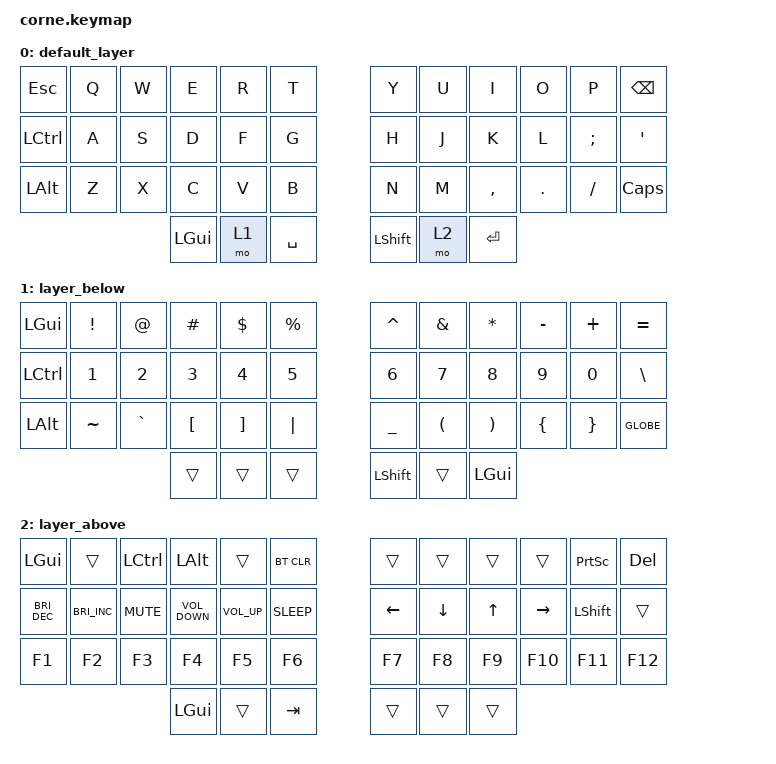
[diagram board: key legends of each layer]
/*
 * Copyright (c) 2020 The ZMK Contributors
 *
 * SPDX-License-Identifier: MIT
 */

#include <behaviors.dtsi>
#include <dt-bindings/zmk/bt.h>
#include <dt-bindings/zmk/keys.h>

/ {
    behaviors {
        tp: tap_preferred {
            compatible = "zmk,behavior-hold-tap";
            label = "TAP_PREFERRED";
            #binding-cells = <2>;
            tapping-term-ms = <150>;
            quick-tap-ms = <0>;
            flavor = "tap-preferred";
            bindings = <&kp>, <&kp>;
        };
    };

    keymap {
        compatible = "zmk,keymap";

        default_layer {
            // -----------------------------------------------------------------------------------------
            // | TAB  |  Q  |  W  |  E  |  R  |    T    |   |  Y  |  U   |  I  |  O  |  P  | ESC |
            // | CTRL |  A  |  S  |  D  |  F  |    G    |   |  H  |  J   |  K  |  L  |  ;  |  LWR/'   |
            // | SHFT |  Z  |  X  |  C  |  V  |    B    |   |  N  |  M   |  ,  |  .  |  /  | SHFT |
            //                    | GUI | LWR | ALT/ENT |   | HYPER/SPC | BKSP  | RSE |

            bindings = <
&kp ESCAPE    &kp Q  &kp W  &kp E     &kp R  &kp T        &kp Y           &kp U  &kp I      &kp O    &kp P     &kp BACKSPACE
&kp LCTRL     &kp A  &kp S  &kp D     &kp F  &kp G        &kp H           &kp J  &kp K      &kp L    &kp SEMI  &kp SINGLE_QUOTE
&kp LEFT_ALT  &kp Z  &kp X  &kp C     &kp V  &kp B        &kp N           &kp M  &kp COMMA  &kp DOT  &kp FSLH  &kp CAPS
                            &kp LGUI  &mo 1  &kp SPACE    &kp LEFT_SHIFT  &mo 2  &kp ENTER
            >;
        };

        layer_below {
            // -----------------------------------------------------------------------------------------
            // |      |  !  |  @  |  #  |  $  |    %     |   |  ^  |  &  |  *  |  (  |  )  |   \   |
            // |      |  1  |  2  |  3  |  4  |    5     |   |  -  |  =  |  `  |  [  |  ]  |  "|"  |
            // | SHFT |  6  |  7  |  8  |  9  |    0     |   |  _  |  +  |  ~  |  {  |  }  | RSHFT |
            //                     | GUI |     | ALT/ENT |   | HYPER/SPACE | BKSP |    |

            bindings = <
&kp LGUI          &kp EXCL   &kp AT     &kp HASH          &kp DLLR           &kp PRCNT    &kp CARET       &kp AMPS              &kp STAR               &kp MINUS  &kp PLUS  &kp EQUAL
&kp LEFT_CONTROL  &kp N1     &kp N2     &kp N3            &kp N4             &kp N5       &kp N6          &kp N7                &kp N8                 &kp N9     &kp N0    &kp BACKSLASH
&kp LEFT_ALT      &kp TILDE  &kp GRAVE  &kp LEFT_BRACKET  &kp RIGHT_BRACKET  &kp PIPE     &kp UNDERSCORE  &kp LEFT_PARENTHESIS  &kp RIGHT_PARENTHESIS  &kp LBRC   &kp RBRC  &kp GLOBE
                                        &trans            &trans             &trans       &kp LEFT_SHIFT  &trans                &kp LGUI
            >;
        };

        layer_above {
            // -----------------------------------------------------------------------------------------
            // |       |  F1  |  F2  |  F3  |  F4  |  F5 |            |  F6  |  F7  |  F8  |  F9  |  F10  |   |
            // |       | Prev | Next | Vol - | Vol + | Play/Pause |   |      | LFT | DWN |  UP | RGT |     |     |
            // | BTCLR | BT1 | BT2 | BT3 | BT4 | BT5 |   |            |     |     |     |     |     |     |
            //                    |     |     |    |                  |     |     |     |

            bindings = <
&kp LGUI              &trans                &kp LEFT_CONTROL  &kp LEFT_ALT       &trans           &bt BT_CLR     &trans    &trans    &trans  &trans     &kp PRINTSCREEN  &kp DEL
&kp C_BRIGHTNESS_DEC  &kp C_BRIGHTNESS_INC  &kp K_MUTE        &kp C_VOLUME_DOWN  &kp C_VOLUME_UP  &kp K_SLEEP    &kp LEFT  &kp DOWN  &kp UP  &kp RIGHT  &kp LEFT_SHIFT   &trans
&kp F1                &kp F2                &kp F3            &kp F4             &kp F5           &kp F6         &kp F7    &kp F8    &kp F9  &kp F10    &kp F11          &kp F12
                                                              &kp LGUI           &trans           &kp TAB        &trans    &trans    &trans
            >;
        };
    };
};
